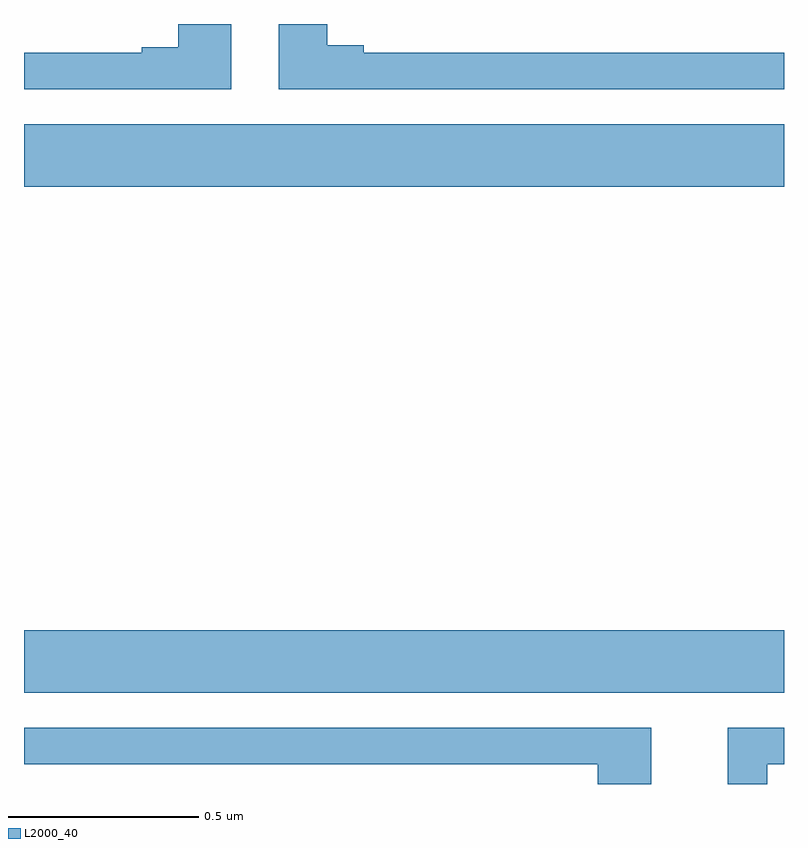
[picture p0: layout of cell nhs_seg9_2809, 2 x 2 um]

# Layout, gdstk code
import gdstk
lib = gdstk.Library(unit=1e-6, precision=1e-09)
def R(c, l, rs):  # rectangles x0, y0, x1, y1
    for r in rs: c.add(gdstk.rectangle(r[:2], r[2:], *l))
def P(c, l, *ps):  # polygons
    for p in ps: c.add(gdstk.Polygon(p, *l))
L2000_40 = (2000, 40)

nhs_seg9_2809 = lib.new_cell('nhs_seg9_2809')
R(nhs_seg9_2809, L2000_40, [(145,1209.74,147,1209.904), (145,1211.072,147,1211.236)])
P(nhs_seg9_2809, L2000_40, [(147,1211.424),(145.894,1211.424),(145.894,1211.444),(145.798,1211.444),(145.798,1211.5),(145.67,1211.5),(145.67,1211.328),(147,1211.328)],
  [(145.546,1211.5),(145.406,1211.5),(145.406,1211.439),(145.31,1211.439),(145.31,1211.424),(145.034,1211.424),(145.034,1211.425),(145,1211.425),(145,1211.328),(145.546,1211.328)],
  [(146.65,1209.648),(145,1209.648),(145,1209.552),(146.51,1209.552),(146.51,1209.5),(146.65,1209.5)],
  [(146.956,1209.552),(147,1209.552),(147,1209.648),(146.852,1209.648),(146.852,1209.5),(146.956,1209.5)])

lib.write_gds('nhs_seg9_2809.gds')
